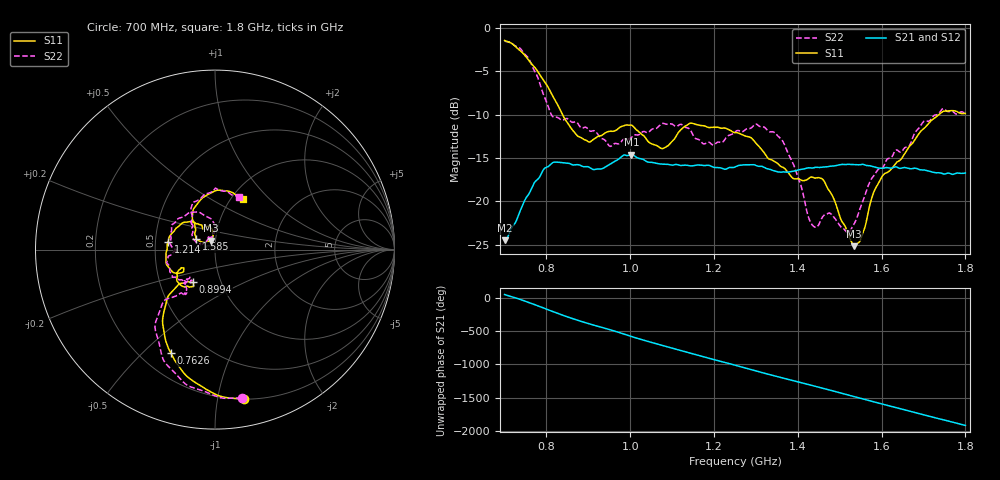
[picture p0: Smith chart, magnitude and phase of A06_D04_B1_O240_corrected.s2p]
! Created with skrf 1.9.0 (http://scikit-rf.org).
# Hz S RI R 50.0
!freq ReS11 ImS11 ReS21 ImS21 ReS12 ImS12 ReS22 ImS22
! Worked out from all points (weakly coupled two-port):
!   1601 points, 700 MHz to 1.8 GHz, reference 50 ohm
!   highest |S21| = -14.60 dB at 1.002 GHz (marker M1); lowest = -24.5 dB at 701.4 MHz (marker M2)
!   lowest |S11| = -25.2 dB at 1.535 GHz (marker M3), VSWR 1.12, Z = 47.6 + j4.84 ohm
!   |S11| at or under -10 dB: 838.4 MHz to 1.736 GHz (898.1 MHz wide, 69.8 % of centre)
!   |S22| runs from -23.6 to -1.5 dB; largest |S21 - S12| = 0.0035
!   S11 on the Smith chart (normalised r, x): 700 MHz: 0.20, -1.19; 762.6 MHz: 0.32, -0.61; 899.4 MHz: 0.73, -0.28; 1.214 GHz: 0.58, +0.05; 1.585 GHz: 0.81, +0.10; 1.8 GHz: 1.13, +0.71
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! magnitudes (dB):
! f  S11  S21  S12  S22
! 700 MHz  -1.4  -24.5  -24.2  -1.5
! 701.4 MHz  -1.5  -24.5  -24.1  -1.5
! 762.6 MHz  -4.0  -18.7  -18.7  -4.0
! 814.1 MHz  -7.8  -15.6  -15.6  -10.2
! 883.6 MHz  -12.7  -15.9  -15.8  -11.5
! 899.4 MHz  -13.1  -16.0  -16.1  -11.7
! 952.3 MHz  -11.9  -15.7  -15.7  -13.7
! 1.002 GHz  -11.2  -14.6  -14.7  -12.6
! 1.067 GHz  -13.7  -15.7  -15.6  -11.4
! 1.143 GHz  -11.0  -15.9  -15.9  -11.7
! 1.214 GHz  -11.5  -16.1  -16.1  -13.2
! 1.25 GHz  -12.1  -16.0  -16.0  -12.0
! 1.301 GHz  -13.4  -15.9  -15.8  -11.1
! 1.36 GHz  -16.0  -16.6  -16.6  -12.8
! 1.434 GHz  -17.2  -16.1  -16.1  -22.7
! 1.463 GHz  -17.7  -16.0  -16.0  -21.6
! 1.535 GHz  -25.2  -15.8  -15.8  -22.6
! 1.553 GHz  -23.9  -15.7  -15.8  -20.2
! 1.585 GHz  -18.5  -16.1  -16.1  -16.7
! 1.617 GHz  -16.6  -16.1  -16.1  -15.0
! 1.741 GHz  -9.8  -16.7  -16.7  -9.6
! 1.8 GHz  -9.9  -16.7  -16.7  -9.9
